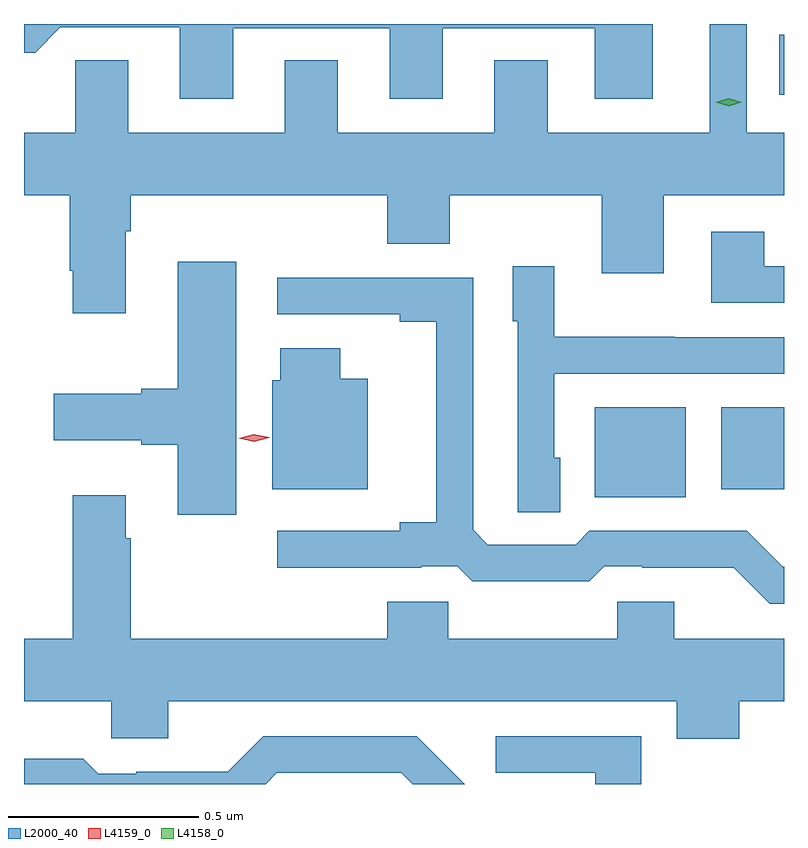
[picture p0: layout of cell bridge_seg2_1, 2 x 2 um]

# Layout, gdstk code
import gdstk
lib = gdstk.Library(unit=1e-6, precision=1e-09)
def R(c, l, rs):  # rectangles x0, y0, x1, y1
    for r in rs: c.add(gdstk.rectangle(r[:2], r[2:], *l))
def P(c, l, *ps):  # polygons
    for p in ps: c.add(gdstk.Polygon(p, *l))
L2000_40 = (2000, 40)
L4158_0 = (4158, 0)
L4159_0 = (4159, 0)

bridge_seg2_1 = lib.new_cell('bridge_seg2_1')
R(bridge_seg2_1, L2000_40, [(659.045,613.541,659.284,613.777), (659.378,613.562,659.543,613.777), (659.53,614.6,659.543,614.758)])
P(bridge_seg2_1, L2000_40, [(657.811,614.24),(657.824,614.24),(657.824,614.336),(658.499,614.336),(658.499,614.208),(658.663,614.208),(658.663,614.336),(659.063,614.336),(659.063,614.13),(659.227,614.13),(659.227,614.336),(659.543,614.336),(659.543,614.5),(659.445,614.5),(659.445,614.786),(659.348,614.786),(659.348,614.5),(658.921,614.5),(658.921,614.69),(658.781,614.69),(658.781,614.5),(658.369,614.5),(658.369,614.69),(658.229,614.69),(658.229,614.5),(657.817,614.5),(657.817,614.69),(657.678,614.69),(657.678,614.5),(657.543,614.5),(657.543,614.336),(657.664,614.336),(657.664,614.137),(657.671,614.137),(657.671,614.025),(657.811,614.025)],
  [(658.093,614.775),(658.505,614.775),(658.505,614.589),(658.645,614.589),(658.645,614.775),(659.045,614.775),(659.045,614.589),(659.197,614.589),(659.197,614.786),(657.543,614.786),(657.543,614.711),(657.572,614.711),(657.639,614.778),(657.953,614.778),(657.953,614.589),(658.093,614.589)],
  [(659.543,614.148),(659.491,614.148),(659.491,614.239),(659.351,614.239),(659.351,614.052),(659.543,614.052)],
  [(658.102,614.161),(657.947,614.161),(657.947,613.826),(657.851,613.826),(657.851,613.813),(657.621,613.813),(657.621,613.691),(657.851,613.691),(657.851,613.679),(657.947,613.679),(657.947,613.494),(658.102,613.494)],
  [(658.954,613.644),(658.938,613.644),(658.938,613.866),(659.543,613.866),(659.543,613.962),(659.255,613.962),(659.255,613.963),(658.938,613.963),(658.938,614.149),(658.829,614.149),(658.829,614.004),(658.842,614.004),(658.842,613.501),(658.954,613.501)],
  [(659.543,613.358),(659.54,613.358),(659.445,613.452),(659.031,613.452),(658.995,613.416),(658.764,613.416),(658.725,613.455),(658.725,614.118),(658.209,614.118),(658.209,614.022),(658.532,614.022),(658.532,614.002),(658.628,614.002),(658.628,613.475),(658.532,613.475),(658.532,613.452),(658.209,613.452),(658.209,613.355),(658.589,613.355),(658.589,613.359),(658.683,613.359),(658.723,613.32),(659.031,613.32),(659.07,613.359),(659.17,613.359),(659.17,613.355),(659.411,613.355),(659.505,613.26),(659.543,613.26)],
  [(658.447,613.852),(658.375,613.852),(658.375,613.933),(658.217,613.933),(658.217,613.848),(658.196,613.848),(658.196,613.562),(658.447,613.562)],
  [(659.425,613.004),(659.543,613.004),(659.543,613.168),(659.254,613.168),(659.254,613.266),(659.104,613.266),(659.104,613.168),(658.659,613.168),(658.659,613.266),(658.499,613.266),(658.499,613.168),(657.824,613.168),(657.824,613.433),(657.811,613.433),(657.811,613.546),(657.671,613.546),(657.671,613.168),(657.543,613.168),(657.543,613.004),(657.772,613.004),(657.772,612.906),(657.922,612.906),(657.922,613.004),(659.261,613.004),(659.261,612.905),(659.425,612.905)],
  [(659.167,612.912),(658.785,612.912),(658.785,612.815),(659.046,612.815),(659.046,612.786),(659.167,612.786)],
  [(658.208,612.815),(658.312,612.815),(658.312,612.816),(658.536,612.816),(658.566,612.786),(658.703,612.786),(658.576,612.912),(658.173,612.912),(658.079,612.818),(657.838,612.818),(657.838,612.813),(657.738,612.813),(657.699,612.853),(657.543,612.853),(657.543,612.786),(658.179,612.786)])
P(bridge_seg2_1, L4158_0, [(659.398,614.57),(659.363,614.58),(659.362,614.58),(659.363,614.58),(659.398,614.59),(659.432,614.58),(659.432,614.58),(659.432,614.58)])
P(bridge_seg2_1, L4159_0, [(658.149,613.687),(658.108,613.696),(658.108,613.696),(658.108,613.696),(658.148,613.707),(658.189,613.698),(658.19,613.697),(658.189,613.697)])

lib.write_gds('bridge_seg2_1.gds')
